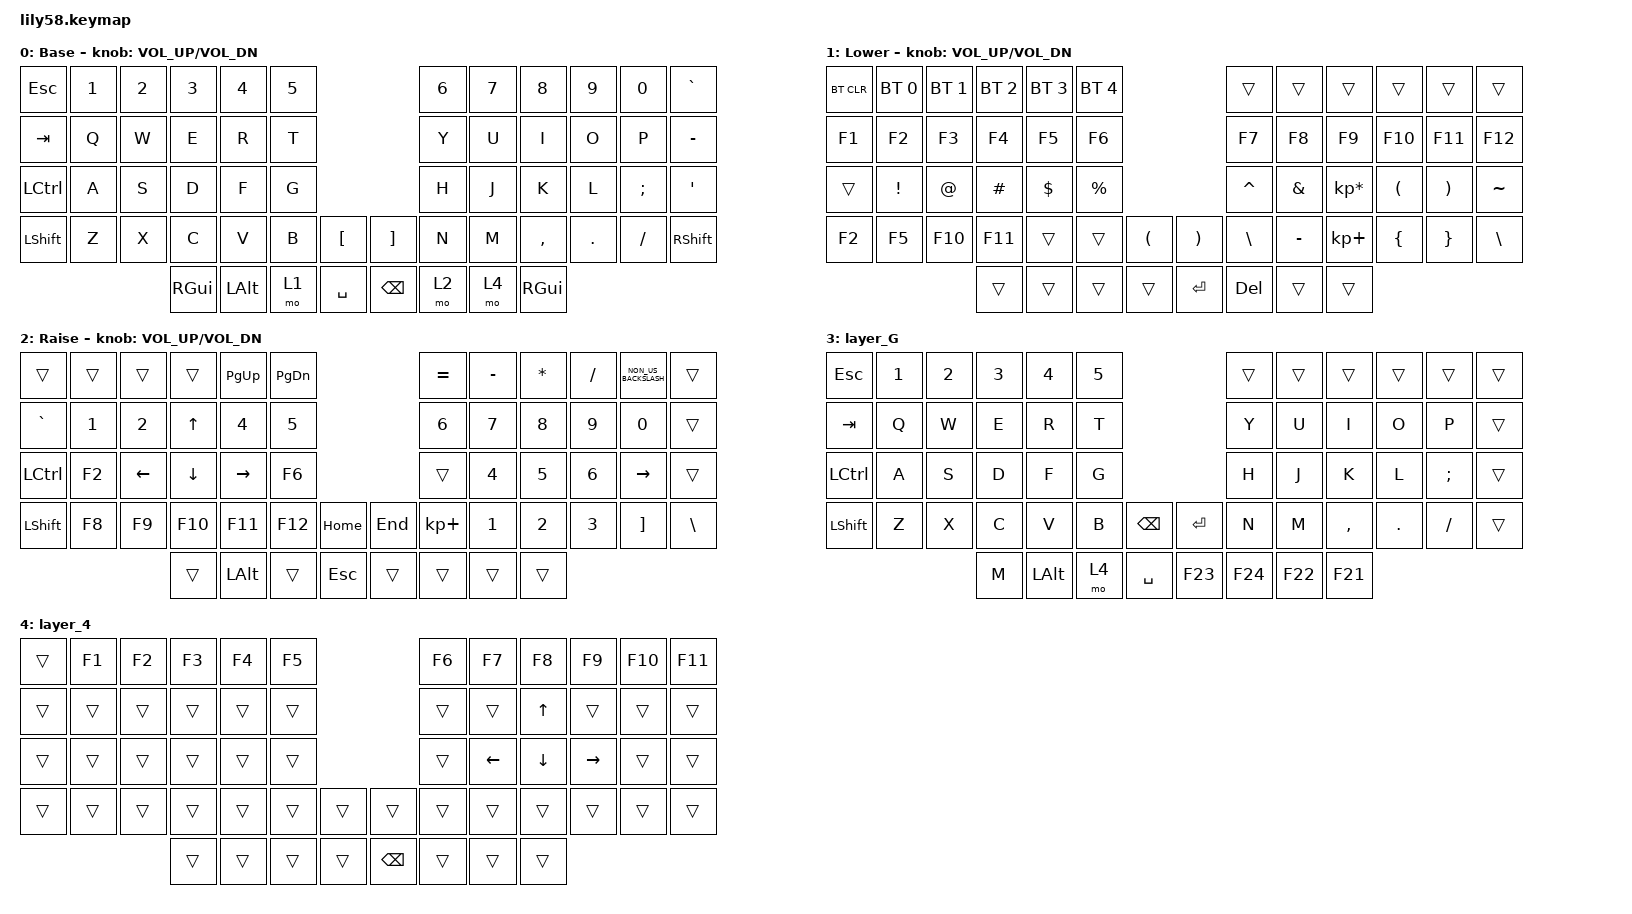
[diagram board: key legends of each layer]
/*
 * Copyright (c) 2020 The ZMK Contributors
 *
 * SPDX-License-Identifier: MIT
 */

#include <behaviors.dtsi>
#include <dt-bindings/zmk/bt.h>
#include <dt-bindings/zmk/keys.h>

/ {
    combos {
        compatible = "zmk,combos";

        toggleLayerGaming {
            bindings = <&tog 3>;
            key-positions = <2 4 5>;
        };

        ctrlZ {
            bindings = <&kp LC(Z)>;
            key-positions = <37 52>;
            layers = <0>;
        };

        ctrlX {
            bindings = <&kp LC(X)>;
            key-positions = <38 52>;
            layers = <0>;
        };

        ctrlC {
            bindings = <&kp LC(C)>;
            key-positions = <39 52>;
            layers = <0>;
        };

        ctrlV {
            bindings = <&kp LC(V)>;
            key-positions = <40 52>;
            layers = <0>;
        };

        ctrlA {
            bindings = <&kp LC(A)>;
            key-positions = <25 52>;
            layers = <0>;
        };

        ctrlS {
            bindings = <&kp LC(S)>;
            key-positions = <26 52>;
            layers = <0>;
        };

        ctrlD {
            bindings = <&kp LC(D)>;
            key-positions = <27 52>;
            layers = <0>;
        };

        ctrlF {
            bindings = <&kp LC(F)>;
            key-positions = <28 52>;
            layers = <0>;
        };

        ctrlR {
            bindings = <&kp LC(R)>;
            key-positions = <16 52>;
            layers = <0>;
        };

        leftBrace {
            bindings = <&kp LEFT_BRACE>;
            key-positions = <29 28>;
            layers = <0>;
        };

        rightBrace {
            bindings = <&kp RIGHT_BRACE>;
            key-positions = <30 31>;
            layers = <0>;
        };

        rightParen {
            bindings = <&kp RIGHT_PARENTHESIS>;
            key-positions = <18 19>;
            layers = <0>;
        };

        leftParen {
            bindings = <&kp LEFT_PARENTHESIS>;
            key-positions = <17 16>;
            layers = <0>;
        };

        tilda {
            bindings = <&kp GRAVE>;
            key-positions = <0 1>;
            layers = <0>;
        };

        ctrlY {
            bindings = <&kp LC(Y)>;
            key-positions = <18 55>;
            layers = <0>;
        };
    };

    keymap {
        compatible = "zmk,keymap";

        default_layer {
            // ------------------------------------------------------------------------------------------------------------
            // |  ESC  |  1  |  2  |  3   |  4   |  5   |                   |  6   |  7    |  8    |  9   |   0   |   `   |
            // |  TAB  |  Q  |  W  |  E   |  R   |  T   |                   |  Y   |  U    |  I    |  O   |   P   |   -   |
            // |  CTRL |  A  |  S  |  D   |  F   |  G   |                   |  H   |  J    |  K    |  L   |   ;   |   '   |
            // | SHIFT |  Z  |  X  |  C   |  V   |  B   |   "["  |  |  "]"  |  N   |  M    |  ,    |  .   |   /   | SHIFT |
            //                     | ALT  | GUI  | LOWER|  SPACE |  | ENTER | RAISE| BSPC  | GUI   |

            display-name = "Base";
            bindings = <
&kp ESC    &kp N1  &kp N2  &kp N3         &kp N4        &kp N5                              &kp N6  &kp N7  &kp N8     &kp N9   &kp N0    &kp GRAVE
&kp TAB    &kp Q   &kp W   &kp E          &kp R         &kp T                               &kp Y   &kp U   &kp I      &kp O    &kp P     &kp MINUS
&kp LCTRL  &kp A   &kp S   &kp D          &kp F         &kp G                               &kp H   &kp J   &kp K      &kp L    &kp SEMI  &kp SQT
&kp LSHFT  &kp Z   &kp X   &kp C          &kp V         &kp B   &kp LBKT     &kp RBKT       &kp N   &kp M   &kp COMMA  &kp DOT  &kp FSLH  &kp RSHFT
                           &kp RIGHT_GUI  &kp LEFT_ALT  &mo 1   &kp SPACE    &kp BACKSPACE  &mo 2   &mo 4   &kp RGUI
            >;

            sensor-bindings = <&inc_dec_kp C_VOL_UP C_VOL_DN>;
        };

        lower_layer {
            // ------------------------------------------------------------------------------------------------------------
            // | BTCLR | BT1 | BT2 |  BT3 |  BT4 |  BT5 |                   |      |       |       |      |       |       |
            // |  F1   |  F2 |  F3 |  F4  |  F5  |  F6  |                   |  F7  |  F8   |  F9   |  F10 |  F11  |  F12  |
            // |   `   |  !  |  @  |  #   |  $   |  %   |                   |  ^   |  &    |  *    |  (   |   )   |   ~   |
            // |       |     |     |      |      |      |        |  |       |      |  _    |  +    |  {   |   }   |  "|"  |
            //                     |      |      |      |        |  |       |      |       |       |

            display-name = "Lower";
            bindings = <
&bt BT_CLR  &bt BT_SEL 0  &bt BT_SEL 1  &bt BT_SEL 2  &bt BT_SEL 3  &bt BT_SEL 4                                                 &trans         &trans     &trans           &trans    &trans    &trans
&kp F1      &kp F2        &kp F3        &kp F4        &kp F5        &kp F6                                                       &kp F7         &kp F8     &kp F9           &kp F10   &kp F11   &kp F12
&trans      &kp EXCL      &kp AT        &kp HASH      &kp DOLLAR    &kp PRCNT                                                    &kp CARET      &kp AMPS   &kp KP_MULTIPLY  &kp LPAR  &kp RPAR  &kp TILDE
&kp F2      &kp F5        &kp F10       &kp F11       &trans        &trans        &kp LEFT_PARENTHESIS    &kp RIGHT_PARENTHESIS  &kp BACKSLASH  &kp MINUS  &kp KP_PLUS      &kp LBRC  &kp RBRC  &kp BACKSLASH
                                        &trans        &trans        &trans        &trans                  &kp ENTER              &kp DEL        &trans     &trans
            >;

            sensor-bindings = <&inc_dec_kp C_VOL_UP C_VOL_DN>;
        };

        raise_layer {
            // ------------------------------------------------------------------------------------------------------------
            // |       |     |     |      |      |      |                   |      |       |       |      |       |       |
            // |   `   |  1  |  2  |  3   |  4   |  5   |                   |  6   |   7   |   8   |  9   |   0   |       |
            // |   F1  |  F2 |  F3 |  F4  |  F5  |  F6  |                   |      |   <-  |   v   |  ^   |  ->   |       |
            // |   F7  |  F8 |  F9 |  F10 |  F11 |  F12 |        |  |       |  +   |   -   |   =   |  [   |   ]   |   \   |
            //                     |      |      |      |        |  |       |      |       |       |

            display-name = "Raise";
            bindings = <
&trans          &trans  &trans    &trans        &kp PAGE_UP   &kp PAGE_DOWN                       &kp EQUAL    &kp MINUS     &kp ASTERISK  &kp SLASH     &kp NON_US_BACKSLASH  &trans
&kp GRAVE       &kp N1  &kp N2    &kp UP_ARROW  &kp N4        &kp N5                              &kp N6       &kp N7        &kp N8        &kp N9        &kp N0                &trans
&kp LCTRL       &kp F2  &kp LEFT  &kp DOWN      &kp RIGHT     &kp F6                              &trans       &kp NUMBER_4  &kp N5        &kp NUMBER_6  &kp RIGHT             &trans
&kp LEFT_SHIFT  &kp F8  &kp F9    &kp F10       &kp F11       &kp F12        &kp HOME    &kp END  &kp KP_PLUS  &kp NUMBER_1  &kp NUMBER_2  &kp NUMBER_3  &kp RBKT              &kp BSLH
                                  &trans        &kp LEFT_ALT  &trans         &kp ESC     &trans   &trans       &trans        &trans
            >;

            sensor-bindings = <&inc_dec_kp C_VOL_UP C_VOL_DN>;
        };

        layer_G {
            bindings = <
&kp ESC           &kp NUMBER_1  &kp NUMBER_2  &kp NUMBER_3  &kp NUMBER_4  &kp N5                              &trans   &trans   &trans     &trans      &trans         &trans
&kp TAB           &kp Q         &kp W         &kp E         &kp R         &kp T                               &kp Y    &kp U    &kp I      &kp O       &kp P          &trans
&kp LEFT_CONTROL  &kp A         &kp S         &kp D         &kp F         &kp G                               &kp H    &kp J    &kp K      &kp L       &kp SEMICOLON  &trans
&kp LEFT_SHIFT    &kp Z         &kp X         &kp C         &kp V         &kp B   &kp BACKSPACE    &kp ENTER  &kp N    &kp M    &kp COMMA  &kp PERIOD  &kp SLASH      &trans
                                              &kp M         &kp LEFT_ALT  &mo 4   &kp SPACE        &kp F23    &kp F24  &kp F22  &kp F21
            >;
        };

        layer_4 {
            bindings = <
&trans  &kp F1  &kp F2  &kp F3  &kp F4  &kp F5                           &kp F6  &kp F7          &kp F8        &kp F9     &kp F10  &kp F11
&trans  &trans  &trans  &trans  &trans  &trans                           &trans  &trans          &kp UP_ARROW  &trans     &trans   &trans
&trans  &trans  &trans  &trans  &trans  &trans                           &trans  &kp LEFT_ARROW  &kp DOWN      &kp RIGHT  &trans   &trans
&trans  &trans  &trans  &trans  &trans  &trans  &trans    &trans         &trans  &trans          &trans        &trans     &trans   &trans
                        &trans  &trans  &trans  &trans    &kp BACKSPACE  &trans  &trans          &trans
            >;
        };
    };
};
